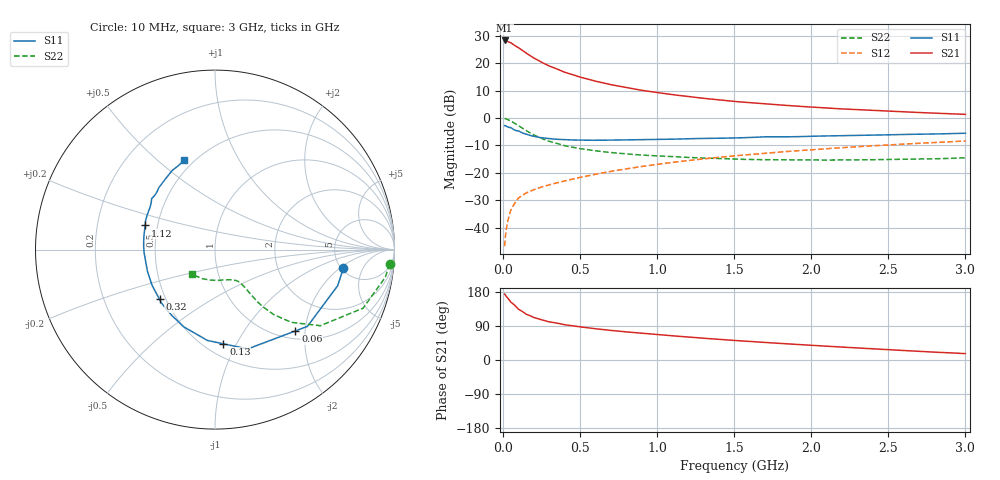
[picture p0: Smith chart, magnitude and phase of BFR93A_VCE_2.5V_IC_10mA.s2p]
! Infineon Technologies  Discrete & RF Semiconductors
! BFR93A
! VCE =  2.5 V,  IC =  10 mA
! Common Emitter S-Parameters:  Nov 2015
# GHz  S  MA  R  50
!  f  S11  S21  S12  S22
! GHz  MAG  ANG  MAG  ANG  MAG  ANG  MAG  ANG
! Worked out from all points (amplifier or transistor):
!   180 points, 10 MHz to 3 GHz, reference 50 ohm
!   highest |S21| = 28.3 dB at 10 MHz (marker M1)
!   |S21| within 3 dB of that: start of sweep to 109.2 MHz
!   unconditionally stable (mu >= 1): 562.9 MHz to 2.966 GHz
!   at 160 MHz: K = 0.51, MSG = 25.2 dB, |S12| = -27.1 dB
!   at 1.22 GHz: K = 1.10, MAG = 9.6 dB, |S12| = -15.4 dB
!   at 3 GHz: K = 1.00, MSG = 4.9 dB, |S12| = -8.4 dB
!   S11 on the Smith chart (normalised r, x): 10 MHz: 5.20, -2.27; 60 MHz: 1.17, -1.78; 130 MHz: 0.61, -0.89; 320 MHz: 0.46, -0.31; 1.12 GHz: 0.43, +0.14; 3 GHz: 0.45, +0.61
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0.01  0.7231 -8.3  25.85 174.0  0.0046 86.0  0.9755 -4.7
0.02  0.7124 -16.4  25.5 168.4  0.009 82.7  0.9617 -9.2
0.05  0.6695 -39.7  23.52 153.0  0.0208 71.9  0.8873 -21.6
0.06  0.6373 -45.3  22.46 149.8  0.0235 68.8  0.8508 -24.0
0.1  0.5826 -71.8  19.08 133.9  0.0347 61.2  0.7236 -35.9
0.13  0.5272 -84.9  16.63 126.8  0.0396 57.9  0.6396 -40.2
0.15  0.5079 -94.8  15.17 120.8  0.0429 56.1  0.586 -43.7
0.2  0.4642 -112.1  12.36 112.1  0.0493 54.7  0.4899 -47.8
0.26  0.4321 -127.2  10.03 104.6  0.0562 54.7  0.4122 -50.1
0.3  0.4212 -135.1  8.839 100.6  0.0604 55.2  0.3744 -50.9
0.32  0.4152 -138.1  8.423 99.4  0.0626 55.7  0.3619 -51.0
0.4  0.4031 -150.7  6.808 93.0  0.0712 57.2  0.3117 -51.5
0.52  0.3938 -164.0  5.372 86.4  0.0848 58.9  0.2705 -51.6
0.6  0.3921 -170.7  4.676 82.4  0.0946 59.7  0.2508 -51.9
0.7  0.3956 -177.7  4.041 78.0  0.1062 60.5  0.2338 -52.6
0.9  0.4024 170.6  3.189 70.6  0.1304 60.9  0.2105 -55.3
1.02  0.4062 165.1  2.848 66.4  0.145 60.6  0.2021 -57.5
1.12  0.4113 160.9  2.617 63.2  0.1575 60.2  0.1955 -60.0
1.52  0.4329 146.6  1.979 51.1  0.2061 57.4  0.1774 -71.8
2.02  0.4655 132.3  1.567 38.4  0.2659 52.7  0.1713 -90.1
2.52  0.4944 120.4  1.321 26.9  0.3247 47.0  0.1748 -110.5
3  0.5265 109.0  1.162 16.9  0.38 41.0  0.1879 -133.3
